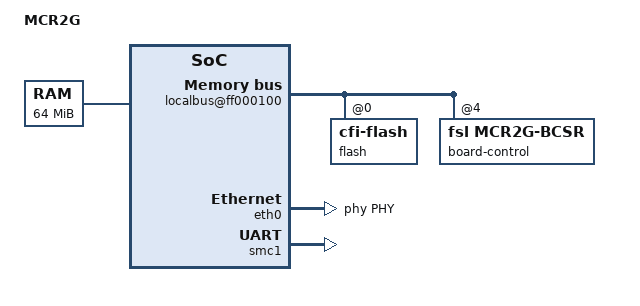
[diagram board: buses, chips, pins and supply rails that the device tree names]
/*
 * MCR2G Device Tree Source
 *
 * Copyright 2010 CSSI, Inc
 */

/dts-v1/;

/ {
	model = "MCR2G";
	compatible = "fsl,mcr2g";
	#address-cells = <1>;
	#size-cells = <1>;

	aliases {
		ethernet0 = &eth0;
		mdio1 = &phy1;
		serial0 = &smc1;
	};

	cpus {
		#address-cells = <1>;
		#size-cells = <0>;

		PowerPC,866@0 {
			device_type = "cpu";
			reg = <0x0>;
			d-cache-line-size = <16>;	// 16 bytes
			i-cache-line-size = <16>;	// 16 bytes
			d-cache-size = <0x2000>;	// L1, 8K
			i-cache-size = <0x4000>;	// L1, 16K
			timebase-frequency = <0>;
			bus-frequency = <0>;
			clock-frequency = <0>;
			interrupts = <15 2>;		// decrementer interrupt
			interrupt-parent = <&PIC>;
		};
	};

	memory {
		device_type = "memory";
		reg = <0x0 0x4000000>;			// memory at offset 0x00000000 and lenght 0x04000000
	};

	localbus@ff000100 {
		compatible = "fsl,mcr2g-localbus", "fsl,pq1-localbus";
		#address-cells = <2>;
		#size-cells = <1>;
		reg = <0xff000100 0x40>;		// ORx and BRx register

		ranges = <0x0 0x0 0x00000000 0x04000000
			  0x4 0x0 0x10000000 0x04000000>;

		flash@0,0 {
			compatible = "cfi-flash";
			reg = <0x0 0x00000000 0x2000000>;
			bank-width = <2>;
			device-width = <2>;
		};

//		flash@3,400 {
//			compatible = "fsl,mcr2g-fcm-nand";
//			reg = <3 0x0c000000 0x400>;
//		};

		board-control@4,1000 {
			reg = <0x4 0x10000000 0x00001000>;
			compatible = "fsl,mcr2g-bcsr";
		};
	};

	soc@ff000000 {
		compatible = "fsl,mpc866", "fsl,pq1-soc";
		#address-cells = <1>;
		#size-cells = <1>;
		device_type = "soc";
		ranges = <0x0 0xff000000 0x4000>;
		bus-frequency = <0>;

		phy1: mdio@e00 {
			compatible = "fsl,mpc866-fec-mdio", "fsl,pq1-fec-mdio";
			reg = <0xe00 0x188>;
			#address-cells = <1>;
			#size-cells = <0>;
			PHY: ethernet-phy@0 {
				reg = <0x0>;
				device_type = "ethernet-phy";
			};
		};

		eth0: ethernet@e00 {
			device_type = "network";
			compatible = "fsl,mpc866-fec-enet", "fsl,pq1-fec-enet";
			reg = <0xe00 0x188>;
			local-mac-address = [ 00 00 00 00 00 00 ];
			interrupts = <3 1>;
			interrupt-parent = <&PIC>;
			phy-handle = <&PHY>;
			linux,network-index = <0>;
		};

		PIC: pic@0 {
			interrupt-controller;
			#interrupt-cells = <2>;
			reg = <0x0 0x24>;
			compatible = "fsl,mpc866-pic", "fsl,pq1-pic";
		};

		cpm@9c0 {
			#address-cells = <1>;
			#size-cells = <1>;
			compatible = "fsl,mpc866-cpm", "fsl,cpm1";
			ranges;
			reg = <0x9c0 0x40>;
			brg-frequency = <0>;
			interrupts = <0>;	// cpm error interrupt
			interrupt-parent = <&CPM_PIC>;

			muram@2000 {
				#address-cells = <1>;
				#size-cells = <1>;
				ranges = <0x0 0x2000 0x2000>;

				data@0 {
					compatible = "fsl,cpm-muram-data";
					reg = <0x0 0x1c00>;
				};
			};

			brg@9f0 {
				compatible = "fsl,mpc866-brg", "fsl,cpm1-brg", "fsl,cpm-brg";
				reg = <0x9f0 0x10>;
				clock-frequency = <0>;
			};

			CPM_PIC: pic@930 {
				interrupt-controller;
				#address-cells = <0>;
				#interrupt-cells = <1>;
				interrupts = <5 2 0 2>;
				interrupt-parent = <&PIC>;
				reg = <0x930 0x20>;
				compatible = "fsl,mpc866-cpm-pic", "fsl,cpm1-pic";
			};


			smc1: serial@a80 {
				device_type = "serial";
				compatible = "fsl,mpc866-smc-uart", "fsl,cpm1-smc-uart";
				reg = <0xa80 0x10 0x3e80 0x40>;
				interrupts = <4>;
				interrupt-parent = <&CPM_PIC>;
				fsl,cpm-brg = <1>;
				fsl,cpm-command = <0x90>;
			};

//			serial@a90 {
//				device_type = "serial";
//				compatible = "fsl,mpc866-smc-uart",
//				             "fsl,cpm1-smc-uart";
//				reg = <0xa90 0x10 0x3f80 0x40>;
//				interrupts = <3>;
//				interrupt-parent = <&CPM_PIC>;
//				fsl,cpm-brg = <2>;
//				fsl,cpm-command = <0xd0>;
//			};

//			ethernet@a00 {
//				device_type = "network";
//				compatible = "fsl,mpc866-scc-enet",
//				             "fsl,cpm1-scc-enet";
//				reg = <0xa00 0x18 0x3c00 0x100>;
//				local-mac-address = [ 00 00 00 00 00 00 ];
//				interrupts = <30>;
//				interrupt-parent = <&CPM_PIC>;
//				fsl,cpm-command = <0000>;
//				linux,network-index = <1>;
//			};

//			i2c@860 {
//				compatible = "fsl,mpc866-i2c",
//					     "fsl,cpm1-i2c";
//				reg = <0x860 0x20 0x3c80 0x30>;
//				interrupts = <16>;
//				interrupt-parent = <&CPM_PIC>;
//				fsl,cpm-command = <0x10>;
//				#address-cells = <1>;
//				#size-cells = <0>;
//			};
		};
	};

	chosen {
		linux,stdout-path = &smc1;
	};
};
